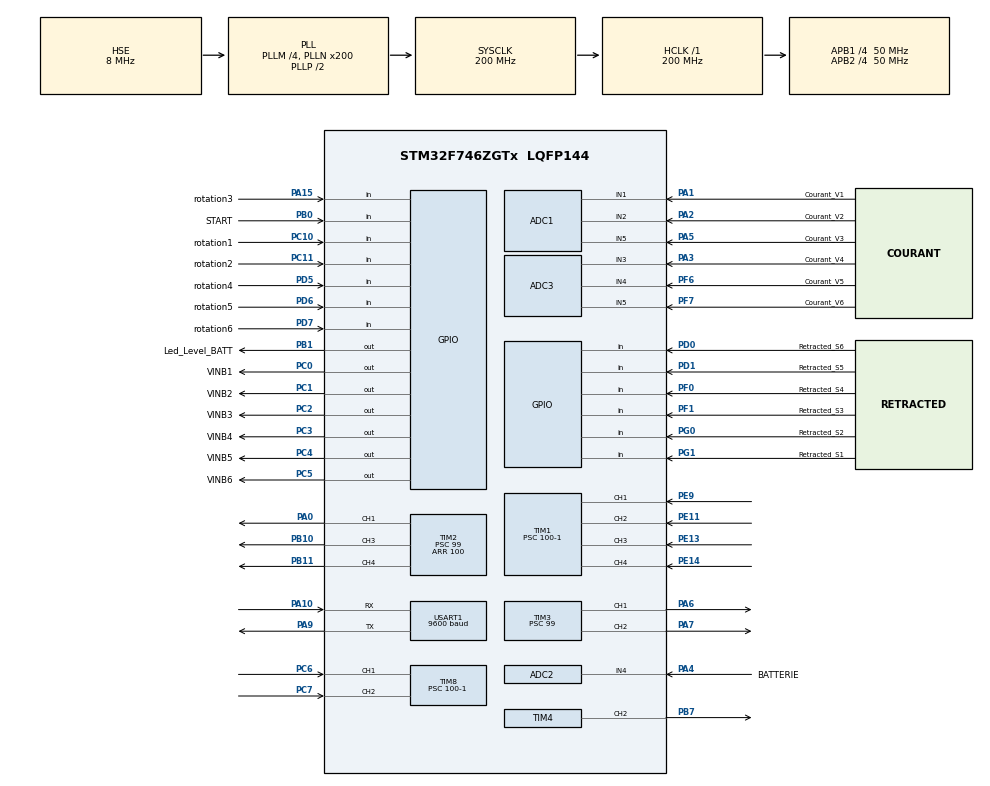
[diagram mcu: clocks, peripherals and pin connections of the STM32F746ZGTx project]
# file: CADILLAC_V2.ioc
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ADC1.Channel-0\#ChannelRegularConversion=ADC_CHANNEL_1
ADC1.Channel-1\#ChannelRegularConversion=ADC_CHANNEL_2
ADC1.Channel-2\#ChannelRegularConversion=ADC_CHANNEL_5
ADC1.ClockPrescaler=ADC_CLOCK_SYNC_PCLK_DIV8
ADC1.ContinuousConvMode=ENABLE
ADC1.DMAContinuousRequests=ENABLE
ADC1.NbrOfConversion=3
ADC1.NbrOfConversionFlag=1
ADC1.Rank-0\#ChannelRegularConversion=1
ADC1.Rank-1\#ChannelRegularConversion=2
ADC1.Rank-2\#ChannelRegularConversion=3
ADC1.SamplingTime-0\#ChannelRegularConversion=ADC_SAMPLETIME_84CYCLES
ADC1.SamplingTime-1\#ChannelRegularConversion=ADC_SAMPLETIME_56CYCLES
ADC1.SamplingTime-2\#ChannelRegularConversion=ADC_SAMPLETIME_144CYCLES
ADC1.ScanConvMode=ADC_SCAN_ENABLE
ADC1.master=1
ADC2.Channel-2\#ChannelRegularConversion=ADC_CHANNEL_4
ADC2.ClockPrescaler=ADC_CLOCK_SYNC_PCLK_DIV8
ADC2.ContinuousConvMode=DISABLE
ADC2.DMAContinuousRequests=DISABLE
ADC2.NbrOfConversion=1
ADC2.NbrOfConversionFlag=1
ADC2.Rank-2\#ChannelRegularConversion=1
ADC2.SamplingTime-2\#ChannelRegularConversion=ADC_SAMPLETIME_480CYCLES
ADC2.ScanConvMode=ADC_SCAN_ENABLE
ADC3.Channel-0\#ChannelRegularConversion=ADC_CHANNEL_3
ADC3.Channel-1\#ChannelRegularConversion=ADC_CHANNEL_4
ADC3.Channel-2\#ChannelRegularConversion=ADC_CHANNEL_5
ADC3.ClockPrescaler=ADC_CLOCK_SYNC_PCLK_DIV8
ADC3.ContinuousConvMode=ENABLE
ADC3.DMAContinuousRequests=ENABLE
ADC3.NbrOfConversion=3
ADC3.NbrOfConversionFlag=1
ADC3.Rank-0\#ChannelRegularConversion=1
ADC3.Rank-1\#ChannelRegularConversion=2
ADC3.Rank-2\#ChannelRegularConversion=3
ADC3.SamplingTime-0\#ChannelRegularConversion=ADC_SAMPLETIME_56CYCLES
ADC3.SamplingTime-1\#ChannelRegularConversion=ADC_SAMPLETIME_112CYCLES
ADC3.SamplingTime-2\#ChannelRegularConversion=ADC_SAMPLETIME_480CYCLES
ADC3.ScanConvMode=ADC_SCAN_ENABLE
Dma.ADC1.1.Direction=DMA_PERIPH_TO_MEMORY
Dma.ADC1.1.FIFOMode=DMA_FIFOMODE_DISABLE
Dma.ADC1.1.Instance=DMA2_Stream0
Dma.ADC1.1.MemDataAlignment=DMA_MDATAALIGN_HALFWORD
Dma.ADC1.1.MemInc=DMA_MINC_ENABLE
Dma.ADC1.1.Mode=DMA_CIRCULAR
Dma.ADC1.1.PeriphDataAlignment=DMA_PDATAALIGN_HALFWORD
Dma.ADC1.1.PeriphInc=DMA_PINC_DISABLE
Dma.ADC1.1.Priority=DMA_PRIORITY_LOW
Dma.ADC2.0.Direction=DMA_PERIPH_TO_MEMORY
Dma.ADC2.0.FIFOMode=DMA_FIFOMODE_DISABLE
Dma.ADC2.0.Instance=DMA2_Stream2
Dma.ADC2.0.MemDataAlignment=DMA_MDATAALIGN_HALFWORD
Dma.ADC2.0.MemInc=DMA_MINC_ENABLE
Dma.ADC2.0.Mode=DMA_CIRCULAR
Dma.ADC2.0.PeriphDataAlignment=DMA_PDATAALIGN_HALFWORD
Dma.ADC2.0.PeriphInc=DMA_PINC_DISABLE
Dma.ADC2.0.Priority=DMA_PRIORITY_LOW
Dma.ADC3.2.Direction=DMA_PERIPH_TO_MEMORY
Dma.ADC3.2.FIFOMode=DMA_FIFOMODE_DISABLE
Dma.ADC3.2.Instance=DMA2_Stream1
Dma.ADC3.2.MemDataAlignment=DMA_MDATAALIGN_HALFWORD
Dma.ADC3.2.MemInc=DMA_MINC_ENABLE
Dma.ADC3.2.Mode=DMA_CIRCULAR
Dma.ADC3.2.PeriphDataAlignment=DMA_PDATAALIGN_HALFWORD
Dma.ADC3.2.PeriphInc=DMA_PINC_DISABLE
Dma.ADC3.2.Priority=DMA_PRIORITY_LOW
Dma.Request0=ADC2
Dma.Request1=ADC1
Dma.Request2=ADC3
Dma.Request3=USART1_RX
Dma.Request4=USART1_TX
Dma.USART1_RX.3.Direction=DMA_PERIPH_TO_MEMORY
Dma.USART1_RX.3.FIFOMode=DMA_FIFOMODE_DISABLE
Dma.USART1_RX.3.Instance=DMA2_Stream5
Dma.USART1_RX.3.MemDataAlignment=DMA_MDATAALIGN_BYTE
Dma.USART1_RX.3.MemInc=DMA_MINC_ENABLE
Dma.USART1_RX.3.Mode=DMA_NORMAL
Dma.USART1_RX.3.PeriphDataAlignment=DMA_PDATAALIGN_BYTE
Dma.USART1_RX.3.PeriphInc=DMA_PINC_DISABLE
Dma.USART1_RX.3.Priority=DMA_PRIORITY_LOW
Dma.USART1_TX.4.Direction=DMA_MEMORY_TO_PERIPH
Dma.USART1_TX.4.FIFOMode=DMA_FIFOMODE_DISABLE
Dma.USART1_TX.4.Instance=DMA2_Stream7
Dma.USART1_TX.4.MemDataAlignment=DMA_MDATAALIGN_WORD
Dma.USART1_TX.4.MemInc=DMA_MINC_ENABLE
Dma.USART1_TX.4.Mode=DMA_CIRCULAR
Dma.USART1_TX.4.PeriphDataAlignment=DMA_PDATAALIGN_WORD
Dma.USART1_TX.4.PeriphInc=DMA_PINC_DISABLE
Dma.USART1_TX.4.Priority=DMA_PRIORITY_LOW
Mcu.Family=STM32F7
Mcu.Name=STM32F746ZGTx
Mcu.Package=LQFP144
NVIC.DMA2_Stream0_IRQn=true\:0\:0\:false\:false\:true\:false\:true\:true
NVIC.DMA2_Stream1_IRQn=true\:0\:0\:false\:false\:true\:false\:true\:true
NVIC.DMA2_Stream2_IRQn=true\:0\:0\:false\:false\:true\:false\:true\:true
NVIC.DMA2_Stream5_IRQn=true\:0\:0\:false\:false\:true\:false\:true\:true
NVIC.DMA2_Stream7_IRQn=true\:0\:0\:false\:false\:true\:false\:true\:true
NVIC.PriorityGroup=NVIC_PRIORITYGROUP_4
NVIC.TIM1_CC_IRQn=true\:0\:0\:false\:false\:true\:true\:true\:true
NVIC.TIM8_CC_IRQn=true\:0\:0\:false\:false\:true\:true\:true\:true
NVIC.USART1_IRQn=true\:0\:0\:false\:false\:true\:true\:true\:true
PA0/WKUP.GPIO_PuPd=GPIO_PULLDOWN
PA0/WKUP.GPIO_Speed=GPIO_SPEED_FREQ_LOW
PA0/WKUP.Signal=S_TIM2_CH1_ETR
PA1.GPIO_Label=Courant_V1
PA1.Signal=ADCx_IN1
PA10.Mode=Asynchronous
PA10.Signal=USART1_RX
PA15.GPIO_Label=rotation3
PA15.GPIO_PuPd=GPIO_PULLDOWN
PA15.Signal=GPIO_Input
PA2.GPIO_Label=Courant_V2
PA2.Signal=ADCx_IN2
PA3.GPIO_Label=Courant_V4
PA3.Signal=ADCx_IN3
PA4.GPIO_Label=BATTERIE
PA4.Signal=ADCx_IN4
PA5.GPIO_Label=Courant_V3
PA5.Signal=ADCx_IN5
PA6.GPIO_PuPd=GPIO_PULLDOWN
PA6.GPIO_Speed=GPIO_SPEED_FREQ_LOW
PA6.Signal=S_TIM3_CH1
PA7.GPIO_PuPd=GPIO_PULLDOWN
PA7.GPIO_Speed=GPIO_SPEED_FREQ_LOW
PA7.Signal=S_TIM3_CH2
PA9.Mode=Asynchronous
PA9.Signal=USART1_TX
PB0.GPIO_Label=START
PB0.GPIO_PuPd=GPIO_PULLDOWN
PB0.Signal=GPIO_Input
PB1.GPIO_Label=Led_Level_BATT
PB1.GPIO_ModeDefaultOutputPP=GPIO_MODE_OUTPUT_PP
PB1.GPIO_PuPd=GPIO_PULLDOWN
PB1.GPIO_Speed=GPIO_SPEED_FREQ_LOW
PB1.Signal=GPIO_Output
PB10.GPIO_PuPd=GPIO_PULLDOWN
PB10.GPIO_Speed=GPIO_SPEED_FREQ_LOW
PB10.Signal=S_TIM2_CH3
PB11.GPIO_PuPd=GPIO_PULLDOWN
PB11.GPIO_Speed=GPIO_SPEED_FREQ_LOW
PB11.Signal=S_TIM2_CH4
PB7.Signal=S_TIM4_CH2
PC0.GPIO_Label=VINB1
PC0.GPIO_PuPd=GPIO_PULLDOWN
PC0.GPIO_Speed=GPIO_SPEED_FREQ_LOW
PC0.Signal=GPIO_Output
PC1.GPIO_Label=VINB2
PC1.GPIO_PuPd=GPIO_PULLDOWN
PC1.GPIO_Speed=GPIO_SPEED_FREQ_LOW
PC1.Signal=GPIO_Output
PC10.GPIO_Label=rotation1
PC10.GPIO_PuPd=GPIO_PULLDOWN
PC10.Signal=GPIO_Input
PC11.GPIO_Label=rotation2
PC11.GPIO_PuPd=GPIO_PULLDOWN
PC11.Signal=GPIO_Input
PC2.GPIO_Label=VINB3
PC2.GPIO_PuPd=GPIO_PULLDOWN
PC2.GPIO_Speed=GPIO_SPEED_FREQ_LOW
PC2.Signal=GPIO_Output
PC3.GPIO_Label=VINB4
PC3.GPIO_PuPd=GPIO_PULLDOWN
PC3.GPIO_Speed=GPIO_SPEED_FREQ_LOW
PC3.Signal=GPIO_Output
PC4.GPIO_Label=VINB5
PC4.GPIO_PuPd=GPIO_PULLDOWN
PC4.GPIO_Speed=GPIO_SPEED_FREQ_LOW
PC4.Signal=GPIO_Output
PC5.GPIO_Label=VINB6
PC5.GPIO_PuPd=GPIO_PULLDOWN
PC5.GPIO_Speed=GPIO_SPEED_FREQ_LOW
PC5.PinState=GPIO_PIN_RESET
PC5.Signal=GPIO_Output
PC6.GPIO_PuPd=GPIO_PULLDOWN
PC6.GPIO_Speed=GPIO_SPEED_FREQ_LOW
PC6.Signal=S_TIM8_CH1
PC7.GPIO_PuPd=GPIO_PULLDOWN
PC7.GPIO_Speed=GPIO_SPEED_FREQ_LOW
PC7.Signal=S_TIM8_CH2
PD0.GPIO_Label=Retracted_S6
PD0.GPIO_PuPd=GPIO_PULLDOWN
PD0.Signal=GPIO_Input
PD1.GPIO_Label=Retracted_S5
PD1.GPIO_PuPd=GPIO_PULLDOWN
PD1.Signal=GPIO_Input
PD5.GPIO_Label=rotation4
PD5.GPIO_PuPd=GPIO_PULLDOWN
PD5.Signal=GPIO_Input
PD6.GPIO_Label=rotation5
PD6.GPIO_PuPd=GPIO_PULLDOWN
PD6.Signal=GPIO_Input
PD7.GPIO_Label=rotation6
PD7.GPIO_PuPd=GPIO_PULLDOWN
PD7.Signal=GPIO_Input
PE11.GPIO_PuPd=GPIO_PULLDOWN
PE11.GPIO_Speed=GPIO_SPEED_FREQ_LOW
PE11.Signal=S_TIM1_CH2
PE13.GPIO_PuPd=GPIO_PULLDOWN
PE13.GPIO_Speed=GPIO_SPEED_FREQ_LOW
PE13.Signal=S_TIM1_CH3
PE14.GPIO_PuPd=GPIO_PULLDOWN
PE14.GPIO_Speed=GPIO_SPEED_FREQ_LOW
PE14.Signal=S_TIM1_CH4
PE9.GPIO_PuPd=GPIO_PULLDOWN
PE9.GPIO_Speed=GPIO_SPEED_FREQ_LOW
PE9.Signal=S_TIM1_CH1
PF0.GPIO_Label=Retracted_S4
PF0.GPIO_PuPd=GPIO_PULLDOWN
PF0.Signal=GPIO_Input
PF1.GPIO_Label=Retracted_S3
PF1.GPIO_PuPd=GPIO_PULLDOWN
PF1.Signal=GPIO_Input
PF6.GPIO_Label=Courant_V5
PF6.Mode=IN4
PF6.Signal=ADC3_IN4
PF7.GPIO_Label=Courant_V6
PF7.Mode=IN5
PF7.Signal=ADC3_IN5
PG0.GPIO_Label=Retracted_S2
PG0.GPIO_PuPd=GPIO_PULLDOWN
PG0.Signal=GPIO_Input
PG1.GPIO_Label=Retracted_S1
PG1.GPIO_PuPd=GPIO_PULLDOWN
PG1.Signal=GPIO_Input
PH0/OSC_IN.Mode=HSE-External-Oscillator
PH0/OSC_IN.Signal=RCC_OSC_IN
PH1/OSC_OUT.Mode=HSE-External-Oscillator
PH1/OSC_OUT.Signal=RCC_OSC_OUT
ProjectManager.HeapSize=0x200
ProjectManager.StackSize=0x400
ProjectManager.TargetToolchain=STM32CubeIDE
RCC.48MHZClocksFreq_Value=24000000
RCC.AHBFreq_Value=200000000
RCC.APB1CLKDivider=RCC_HCLK_DIV4
RCC.APB1Freq_Value=50000000
RCC.APB1TimFreq_Value=100000000
RCC.APB2CLKDivider=RCC_HCLK_DIV4
RCC.APB2Freq_Value=50000000
RCC.APB2TimFreq_Value=100000000
RCC.CortexFreq_Value=200000000
RCC.HCLKFreq_Value=200000000
RCC.HSE_VALUE=8000000
RCC.HSI_VALUE=16000000
RCC.LSE_VALUE=32768
RCC.PLLM=4
RCC.PLLMUL=RCC_PLL_MUL9
RCC.PLLN=200
RCC.PLLQ=3
RCC.PLLSourceVirtual=RCC_PLLSOURCE_HSE
RCC.PRESCALERUSB=RCC_USBCLKSOURCE_PLL_DIV1_5
RCC.SYSCLKFreq_VALUE=200000000
RCC.SYSCLKSource=RCC_SYSCLKSOURCE_PLLCLK
RCC.SYSCLKSourceVirtual=RCC_SYSCLKSOURCE_PLLCLK
RCC.USBFreq_Value=133333333.33333333
RCC.VCOOutputFreq_Value=400000000
SH.ADCx_IN1.0=ADC1_IN1,IN1
SH.ADCx_IN2.0=ADC1_IN2,IN2
SH.ADCx_IN3.0=ADC3_IN3,IN3
SH.ADCx_IN4.0=ADC2_IN4,IN4
SH.ADCx_IN5.0=ADC1_IN5,IN5
SH.S_TIM1_CH1.0=TIM1_CH1,Input_Capture1_from_TI1
SH.S_TIM1_CH2.0=TIM1_CH2,Input_Capture2_from_TI2
SH.S_TIM1_CH3.0=TIM1_CH3,Input_Capture3_from_TI3
SH.S_TIM1_CH4.0=TIM1_CH4,Input_Capture4_from_TI4
SH.S_TIM2_CH1_ETR.0=TIM2_CH1,PWM Generation1 CH1
SH.S_TIM2_CH3.0=TIM2_CH3,PWM Generation3 CH3
SH.S_TIM2_CH4.0=TIM2_CH4,PWM Generation4 CH4
SH.S_TIM3_CH1.0=TIM3_CH1,PWM Generation1 CH1
SH.S_TIM3_CH2.0=TIM3_CH2,PWM Generation2 CH2
SH.S_TIM4_CH2.0=TIM4_CH2,PWM Generation2 CH2
SH.S_TIM8_CH1.0=TIM8_CH1,Input_Capture1_from_TI1
SH.S_TIM8_CH2.0=TIM8_CH2,Input_Capture2_from_TI2
TIM1.Channel-Input_Capture1_from_TI1=TIM_CHANNEL_1
TIM1.Channel-Input_Capture2_from_TI2=TIM_CHANNEL_2
TIM1.Channel-Input_Capture3_from_TI3=TIM_CHANNEL_3
TIM1.Channel-Input_Capture4_from_TI4=TIM_CHANNEL_4
TIM1.ClockDivision=TIM_CLOCKDIVISION_DIV2
TIM1.ICFilter_CH1=12
TIM1.ICFilter_CH2=12
TIM1.ICFilter_CH3=12
TIM1.ICFilter_CH4=12
TIM1.Prescaler=100-1
TIM2.Channel-PWM\ Generation1\ CH1=TIM_CHANNEL_1
TIM2.Channel-PWM\ Generation3\ CH3=TIM_CHANNEL_3
TIM2.Channel-PWM\ Generation4\ CH4=TIM_CHANNEL_4
TIM2.Period=100
TIM2.Prescaler=99
TIM3.Channel-PWM\ Generation1\ CH1=TIM_CHANNEL_1
TIM3.Channel-PWM\ Generation2\ CH2=TIM_CHANNEL_2
TIM3.Period=100
TIM3.Prescaler=99
TIM4.Channel-PWM\ Generation2\ CH2=TIM_CHANNEL_2
TIM4.Period=100
TIM4.Prescaler=99
TIM8.Channel-Input_Capture1_from_TI1=TIM_CHANNEL_1
TIM8.Channel-Input_Capture2_from_TI2=TIM_CHANNEL_2
TIM8.ClockDivision=TIM_CLOCKDIVISION_DIV2
TIM8.ICFilter_CH1=12
TIM8.ICFilter_CH2=12
TIM8.Prescaler=100-1
USART1.BaudRate=9600
USART1.OneBitSampling=UART_ONE_BIT_SAMPLE_DISABLE
USART1.VirtualMode-Asynchronous=VM_ASYNC
VP_TIM2_VS_ClockSourceINT.Mode=Internal
VP_TIM3_VS_ClockSourceINT.Mode=Internal
board=NUCLEO-F746ZG

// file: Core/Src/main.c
/* USER CODE BEGIN Header */
/**
  ******************************************************************************
  * @file           : main.c
  * @brief          : Main program body
  ******************************************************************************
  * @attention
  *
  * Copyright (c) 2023 STMicroelectronics.
  * All rights reserved.
  *
  * This software is licensed under terms that can be found in the LICENSE file
  * in the root directory of this software component.
  * If no LICENSE file comes with this software, it is provided AS-IS.
  *
  ******************************************************************************
  */
/* USER CODE END Header */
#include "main.h"
#include "adc.h"
#include "dma.h"
#include "tim.h"
#include "usart.h"
#include "gpio.h"

/* USER CODE BEGIN Includes */
#include "asservissement.h"
#include "interruption.h"
#include "math.h"
#include "stdlib.h"
#include "stdio.h"

/* USER CODE END Includes */

/* USER CODE BEGIN PTD */
#define frequencyM1     1000/(periodMotor1)    // FREQUENCE DU L ENCODEUR 1
#define frequencyM2     1000/(periodMotor2)    // FREQUENCE DU L ENCODEUR 2
#define frequencyM3     1000/(periodMotor3)    // FREQUENCE DU L ENCODEUR 3
#define frequencyM4     1000/(periodMotor4)    // FREQUENCE DU L ENCODEUR 4
#define frequencyM5     1000/(periodMotor5)    // FREQUENCE DU L ENCODEUR 5
#define frequencyM6     1000/(periodMotor6)    // FREQUENCE DU L ENCODEUR 6

#define Vmin     15   // FREQUENCE DU L ENCODEUR 6
#define Vmax     45  // FREQUENCE DU L ENCODEUR 6
#define Vx     19 // FREQUENCE DU L ENCODEUR 6

/* USER CODE END PTD */

/* USER CODE BEGIN PV */
int speedMotor1=0;
int speedMotor2=0;
int speedMotor3=0;
int speedMotor4=0;
int speedMotor5=0;
int speedMotor6=0;
float vitesseRef1 =25;            // VITESSE DE REFERNCE POUR L ASSERVISSEMENT 90
float vitesseRef3 =25;
float vitesseRef2 =25;
int periodMotor1=0;
uint16_t periodMotor2=0;
uint16_t periodMotor3=0;
uint16_t periodMotor4=0;
uint16_t periodMotor5=0;
uint16_t periodMotor6=0;
volatile float Is_First_Captured1=0;// VARIABLE POUR TESTER SILE FRONT MONTANT DU L ENCODEUR 1 EST DETECTE
volatile float Is_First_Captured2=0;// VARIABLE POUR TESTER SILE FRONT MONTANT DU L ENCODEUR 2 EST DETECTE
volatile float Is_First_Captured3=0;// VARIABLE POUR TESTER SILE FRONT MONTANT DU L ENCODEUR 3 EST DETECTE
volatile float Is_First_Captured4=0;// VARIABLE POUR TESTER SILE FRONT MONTANT DU L ENCODEUR 4 EST DETECTE
volatile float Is_First_Captured5=0;// VARIABLE POUR TESTER SILE FRONT MONTANT DU L ENCODEUR 5 EST DETECTE
volatile float Is_First_Captured6=0;// VARIABLE POUR TESTER SILE FRONT MONTANT DU L ENCODEUR 6 EST DETECTE
volatile int IC1_Val1=0;        //VARIABLE POUR STOCKER LA VALEUR DU  FRONT MONTANT DU L ENCODEUR 1
volatile int IC2_Val1=0;        //VARIABLE POUR STOCKER LA VALEUR DU  FRONT MONTANT DU L ENCODEUR 2
volatile int IC3_Val1=0;        //VARIABLE POUR STOCKER LA VALEUR DU  FRONT MONTANT DU L ENCODEUR 3
volatile int IC4_Val1=0;        //VARIABLE POUR STOCKER LA VALEUR DU  FRONT MONTANT DU L ENCODEUR 4
volatile int IC5_Val1=0;        //VARIABLE POUR STOCKER LA VALEUR DU  FRONT MONTANT DU L ENCODEUR 5
volatile int IC6_Val1=0;        //VARIABLE POUR STOCKER LA VALEUR DU  FRONT MONTANT DU L ENCODEUR 6
volatile int CountM1=0;      // NOMBRE D IMPULSION ENCODEUR 1
volatile int CountM2=0;      // NOMBRE D IMPULSION ENCODEUR 2
volatile int CountM3=0;      // NOMBRE D IMPULSION ENCODEUR 3
volatile int CountM4=0;      // NOMBRE D IMPULSION ENCODEUR 4
volatile int CountM5=0;      // NOMBRE D IMPULSION ENCODEUR 5
volatile int CountM6=0;      // NOMBRE D IMPULSION ENCODEUR 6
double pos1;
double pos2;
double pos3;
 uint8_t Msgsent_ToST2[1]={0x1F};//1 identificateur/ F start mise à zero
 uint8_t senddataPOS_encour[1]={0x11};//1 identificateur/ 1  mise à zero en cours
 uint8_t senddatahold[1]={0xF0};//F tout les uc/ 0 terminer la  mise à zero

 uint8_t MsgrecuST2[1];//RX UART:: courantR1  COURANTR2 COURANTR3 /R4  DESC  COURANTMEULE  /COUNTMR1 MR2...MR4
uint32_t BATT;       // TABLEAU POUR STOCKER VALEUR DE TENSION BATT
double y=-580;
double x=-30;

volatile float VBATT=20;
volatile float COURANTV1;
volatile float COURANTV2;
volatile float COURANTV3;
volatile float COURANTV4;
volatile float COURANTV5;
volatile float COURANTV6;
uint8_t  courantR1;
uint8_t  courantR2;
uint8_t  courantR3;
uint8_t  courantR4;
uint8_t  courantDESC ;
uint8_t courantMeule;
uint8_t CountMR1;
uint8_t CountMR2;
uint8_t CountMR3;
uint8_t CountMR4;
uint8_t CountDESC;
uint16_t buffer1[3];
uint16_t buffer2[3];
uint8_t Start;//bouton start cycle
float resultats;
float t1;
float t2;
float t3;
const float PI=3.141593;

double poszero1;
double poszero2;
double poszero3;
int zero=0;
int mise_zero_alpha0=0;

/* USER CODE END PV */

void SystemClock_Config(void);
/* USER CODE BEGIN PFP */

void roundpulse(double *C1,double *C2,double *C3);

void ConvertMM_topulse(double *C1,double *C2,double *C3);

void determinerVecteurTEMPS( double *pos11,double *pos22,double *pos33 );
void convert_Frompolar_Tocourse(double x, double y, double alpha);
void moveTo( double x,double y,double alpha );
void Start_mise_a_zero();
void senddataholdTo_st2();
void Mise_a_zero_encour();

/* USER CODE END PFP */

/* USER CODE BEGIN 0 */

void HAL_TIM_IC_CaptureCallback(TIM_HandleTypeDef *htim)

{
	  if(htim->Instance==TIM8)
	  {
		  if(htim->Channel == HAL_TIM_ACTIVE_CHANNEL_1)// MOTEUR 1

		  	{
			   Interruption_1();
             // CountM1++;

				if (Is_First_Captured1 == 0)
					{

					  IC1_Val1=HAL_GetTick();
					  Is_First_Captured1++;

					}
		  		else if (Is_First_Captured1 == 1)
					{
					  periodMotor1 = HAL_GetTick()-IC1_Val1;//periode1
					  if(periodMotor1>16)
					  {
					    speedMotor1 = frequencyM1;

					  }
					  Is_First_Captured1 = 0;

					  }

		  	}
		  if(htim->Channel == HAL_TIM_ACTIVE_CHANNEL_2)// MOTEUR 2

		 		  	            {
		 						 Initerruption_2();
		 		            	 //CountM2+=1;

		 						  if (Is_First_Captured2 == 0)
		 							{
		 								IC2_Val1=HAL_GetTick();
		 								Is_First_Captured2++;
		 							}
		 							else if (Is_First_Captured2 == 1)
		 							{
		 								periodMotor2 = HAL_GetTick()-IC2_Val1;//periode1
		 								if(periodMotor2>16)
		 								{
		 								speedMotor2 = frequencyM2;
		 								}

		 								Is_First_Captured2 = 0;

		 							}

		 						  }
	  }

	  if(htim->Instance==TIM1)

	  {

            if(htim->Channel == HAL_TIM_ACTIVE_CHANNEL_1)	//MOTEUR3

				{
	    Interruption_3();
  	 //CountM3++;

					if (Is_First_Captured3 == 0)
						{
							IC3_Val1=HAL_GetTick();
							Is_First_Captured3++;
						}
					else if (Is_First_Captured3 == 1)
						{
							periodMotor3 = HAL_GetTick()-IC3_Val1;//periode1
							if(periodMotor3>16)
							{
							  speedMotor3 = frequencyM3;
							}
							Is_First_Captured3 = 0;

						}

				}

	  		if(htim->Channel==HAL_TIM_ACTIVE_CHANNEL_2)//MOTEUR4
	  			  {
	  			    Interruption_4();
	  			//CountM4++;

					   if (Is_First_Captured4 == 0)
						   {
								IC4_Val1=HAL_GetTick();
								//timestamp1C1 = HAL_GetTick();
								Is_First_Captured4++;
						   }
						else if (Is_First_Captured4== 1)
							{
								periodMotor4 = HAL_GetTick()-IC4_Val1;//periode1periode1*0.5 both edge
							    if(periodMotor4>16)
							    {
								  speedMotor4 = frequencyM4;
								}
								Is_First_Captured4 = 0;

							}

					}

	  		if(htim->Channel==HAL_TIM_ACTIVE_CHANNEL_3)//MOTEUR5
				{
				     Interruption_5();
	  			 //CountM5++;

					 if (Is_First_Captured5 == 0)
						{
							IC5_Val1=HAL_GetTick();
							//timestamp1C1 = HAL_GetTick();
							Is_First_Captured5++;
						}
					 else if (Is_First_Captured5== 1)
						{
							periodMotor5 = HAL_GetTick()-IC5_Val1;//periode1
							if(periodMotor5>16)
							{
							  speedMotor5 = frequencyM5;
							}
							Is_First_Captured5 = 0;

						}

				}
	  		if(htim->Channel==HAL_TIM_ACTIVE_CHANNEL_4)//MOTEUR6
				{
					Interruption_6();
	  			//  CountM6++;

					if (Is_First_Captured6 == 0)
					{
						IC6_Val1=HAL_GetTick();
						//timestamp1C1 = HAL_GetTick();
						Is_First_Captured6++;
					}
					else if (Is_First_Captured6== 1)
						{
							periodMotor6 = HAL_GetTick()-IC6_Val1;//periode1periode1*0.5 both edge
						    if(periodMotor6>16)
						    {
							  speedMotor6 =frequencyM6;
						    }
							Is_First_Captured6 = 0;

						}

	  			 }

	  	}

}

void HAL_ADC_ConvCpltCallback(ADC_HandleTypeDef* hadc)
{

	  /*  if (hadc->Instance == ADC1)
	    {
				COURANTV1=buffer1[0];
				COURANTV2=buffer1[1];
				COURANTV3=buffer1[2];

	    }*/
	     if (hadc->Instance == ADC2)
	    {

	 	     VBATT=(BATT/ 4095.00)*21;//tension de la batterie

	    }
	 /* if (hadc->Instance == ADC3)
	        {
				COURANTV4=buffer2[0];
				COURANTV5=buffer2[1];
				COURANTV6=buffer2[2];

	        }*/

}

void HAL_UART_RxCpltCallback(UART_HandleTypeDef *huart)
  {
	HAL_UART_Receive_IT(&huart1,MsgrecuST2, 1);//sizeof(buffer));// CR1/CR2/CR3/CR4/CRDES/CRMEULE/CountMR1...CountMR4

  }

void Start_mise_a_zero()
  {

   HAL_UART_Transmit_IT(&huart1, Msgsent_ToST2, 1);// ENVOYER 011=3
HAL_Delay(100);

  }
void Mise_a_zero_encour()
  {

   HAL_UART_Transmit_IT(&huart1, senddataPOS_encour, 1);
   HAL_Delay(100);

  }
void senddataholdTo_st2()

  {

   HAL_UART_Transmit_IT(&huart1, senddatahold, 1);
   HAL_Delay(100);

  }

void check_batterie(){
	if(VBATT>17.00){

		HAL_GPIO_WritePin(GPIOB, Led_Level_BATT_Pin, GPIO_PIN_SET);
	}
	else if(VBATT<17.00){

		HAL_GPIO_TogglePin(GPIOB, Led_Level_BATT_Pin);
		HAL_Delay(100);
	}
}

void convert_Frompolar_Tocourse(double x, double y, double alpha){

alpha=PI*alpha/180;// angle radian
pos1=sqrt(pow(x+180*sin(alpha)-50*cos(alpha),2)+pow(y+180*cos(alpha)+50*sin(alpha),2))-356;// EQUATION COURSE1
pos2=sqrt(pow(x+180*sin(alpha)-50*cos(alpha)+100,2)+pow(y+180*cos(alpha)+50*sin(alpha),2))-356;//EQUATION COURSE 2
pos3=sqrt(pow(x+180*sin(alpha)+50*cos(alpha)-80,2)+pow(y+180*cos(alpha)-50*sin(alpha),2))-356;// EQUATION COURSE3
if(pos1<0){pos1=0;}// MOUVE TO ZERO POSITION (x	=0 y=0 alpha=0) donne des resultats negative de course
if(pos2<0){pos2=0;}// MOUVE TO ZERO POSITION (x	=0 y=0 alpha=0) donne des resultats negative de course
if(pos3<0){pos3=0;}// MOUVE TO ZERO POSITION (x	=0 y=0 alpha=0) donne des resultats negative de course

}
void roundpulse(double *C1,double *C2,double *C3)
{
	*C1=round(*C1);
	*C2=round(*C2);
	*C3=round(*C3);
}
void ConvertMM_topulse(double *C1,double *C2,double *C3)
{
	*C1=(*C1)*6.41;
	*C2=(*C2)*6.41;
	*C3=(*C3)*6.41;

}
void determinerVecteurTEMPS( double *pos11,double *pos22,double *pos33 )
  {

		t1=*pos11/vitesseRef1;
		t2=*pos22/vitesseRef2;
		t3=*pos33/vitesseRef3;
		resultats= (t2+t3+t1)/3;
   }
void moveTo( double x,double y,double alpha ){

vitesseRef1=30;
vitesseRef2=30;
vitesseRef3=30;
poszero1=pos1;
poszero2=pos2;
poszero3=pos3;

convert_Frompolar_Tocourse(x, y, alpha);//retourner pos1 POS2 POS3 en mm
//ConvertMM_topulse(&pos1, &pos2, &pos3);
  // roundpulse(&pos1, &pos2, &pos3);

if ((pos1 == 0 && pos3 == 0) && pos2 == 0) {
    vitesseRef1 = ceil(poszero1 / resultats);
    vitesseRef2 = ceil(poszero2 / resultats);
    vitesseRef3 = ceil(poszero3 / resultats);
} else {
    ConvertMM_topulse(&pos1, &pos2, &pos3);
    roundpulse(&pos1, &pos2, &pos3);
    determinerVecteurTEMPS(&pos1, &pos2, &pos3);

    vitesseRef1 = ceil(pos1 / resultats);//
    vitesseRef2 = ceil(pos2 / resultats);
    vitesseRef3 = ceil(pos3 / resultats);
}

vitesseRef1 = (vitesseRef1 > Vmax) ? Vmax : (vitesseRef1 < Vmin) ? Vmin : vitesseRef1;
vitesseRef2 = (vitesseRef2 > Vmax) ? Vmax : (vitesseRef2 < Vmin) ? Vmin : vitesseRef2;
vitesseRef3 = (vitesseRef3 > Vmax) ? Vmax : (vitesseRef3 < Vmin) ? Vmin : vitesseRef3;

////////////////////////////////////////

while ( ((pos1>CountM2)||(pos1>CountM5)||(pos1-CountM2<0 )||(pos1-CountM5<0 ) ||
		(pos2>CountM1)||(pos2>CountM6)||(pos2-CountM1<0 ) ||(pos2-CountM6<0 )||
		(pos3>CountM3)||(pos3>CountM4)||(pos3-CountM3<0 ) ||(pos3-CountM4<0 )))
{
	///{1 ET 6}  {2 ET 5}   {3  ET 4} sont synchroniser deux a deux
	 //////////////////////////////////////////////////////////MOTEUR1

    if (pos2 - CountM1 > 0) {
        HAL_GPIO_WritePin(GPIOC, VINB1_Pin, GPIO_PIN_RESET); // Moving forward
         Regulation_Mt1(speedMotor1, speedMotor6, vitesseRef2, VBATT)   ;
        //TIM2->CCR1 = 40; // Stop for any other condition

    } else if ((pos2 - CountM1) < 0 ) {
        HAL_GPIO_WritePin(GPIOC, VINB1_Pin, GPIO_PIN_SET); // Moving backward
        Regulation_Mt1(speedMotor1, speedMotor6, vitesseRef2, VBATT)   ;
        //TIM2->CCR1 = 40;
    } else {
        TIM2->CCR1 = 0; // Stop for any other condition
    }

    ////////////////////////////////////////////////////////////////////MT6

    	    if (pos2 - CountM6 > 0) {
    	    	HAL_GPIO_WritePin(GPIOC,  VINB6_Pin, GPIO_PIN_RESET);
    			Regulation_Mt6(speedMotor6, speedMotor1, vitesseRef2, VBATT);

    	    	 //TIM3->CCR2=40;
    	    }
    	    else if ((pos2 - CountM6 )< 0 )
    	    {

    	      HAL_GPIO_WritePin(GPIOC,  VINB6_Pin, GPIO_PIN_SET);
    		  Regulation_Mt6(speedMotor6, speedMotor1, vitesseRef2, VBATT);
    	      //TIM3->CCR2=40;

    	    }

    	    else
    	    {
    		  	TIM3->CCR2=0;

    	    }

	  ///////////////////////////////////////////////////MOTEUR2

		if  (pos1- CountM2>0 )//>=0.4
		   {

			HAL_GPIO_WritePin(GPIOC,  VINB2_Pin, GPIO_PIN_RESET);
		    Regulation_Mt2(speedMotor2, speedMotor5,vitesseRef1, VBATT);

			 //TIM4->CCR2=40;

		   }else if (( pos1 - CountM2   )<0  )//<=-0.5
				{
				   HAL_GPIO_WritePin(GPIOC,  VINB2_Pin, GPIO_PIN_SET);
				   Regulation_Mt2(speedMotor2, speedMotor5,vitesseRef1, VBATT);
				  // TIM4->CCR2=40;
			    }

		   else
			    {
			   TIM4->CCR2=0;

			    }

		///////////////////////////////////////////////////MOTEUR5

		if (pos1 - CountM5 > 0) {
			   HAL_GPIO_WritePin(GPIOC,  VINB5_Pin, GPIO_PIN_RESET);
			  Regulation_Mt5(speedMotor5, speedMotor2, vitesseRef1, VBATT);

			   //TIM3->CCR1=40;
		    } else if ((pos1 - CountM5) < 0 ) {

				  HAL_GPIO_WritePin(GPIOC,  VINB5_Pin, GPIO_PIN_SET);
				  Regulation_Mt5(speedMotor5, speedMotor2, vitesseRef1, VBATT);
				 // TIM3->CCR1=40;

		    }

		    else {
			  	TIM3->CCR1=0;

		    }

	///////////////////////////////////////////////////////////MOTEUR3

			if (pos3 - CountM3 > 0)
			  {
				HAL_GPIO_WritePin(GPIOC,  VINB3_Pin, GPIO_PIN_RESET);
				Regulation_Mt3(  speedMotor3,   speedMotor4, vitesseRef3, VBATT);
				 //TIM2->CCR3=40;
			   } else if ((pos3 - CountM3 )< 0 )
					   {
				  HAL_GPIO_WritePin(GPIOC,  VINB3_Pin, GPIO_PIN_SET);

				  Regulation_Mt3(  speedMotor3, speedMotor4, vitesseRef3, VBATT);

			   }

			   else {
				   TIM2->CCR3=0;

			   }
/////////////////////////////////////////////////////////////////////////////////MT4

		   if (pos3 - CountM4 > 0)
		   {
			 HAL_GPIO_WritePin(GPIOC,  VINB4_Pin, GPIO_PIN_RESET);

			  Regulation_Mt4(speedMotor4, speedMotor3, vitesseRef3, VBATT);

			 //TIM2->CCR4=40;
		   }
		   else if ((pos3 - CountM4 )< 0 )
		   {
			HAL_GPIO_WritePin(GPIOC,  VINB4_Pin, GPIO_PIN_SET);

			  Regulation_Mt4(speedMotor4, speedMotor3, vitesseRef3, VBATT);

			  // TIM2->CCR4=40;
		   }

		   else
		   {
			   TIM2->CCR4=0;

		   }

}
////////////////////////////////////////////////////////////////////////////
                  if  (( pos2  -CountM1  )==0 )
					   {
       			   TIM2->CCR1=0;

					   }
				 if  (( pos1  -CountM2  )==0 )
					   {
					   TIM4->CCR2=0;

					   }

	 			 if  (( pos3  -CountM3  )==0 )
				     {
	 				   TIM2->CCR3=0;

				     }
				 if  (( pos3  -CountM4 )==0 )
				     {
					   TIM2->CCR4=0;

					 }
				 if  (( pos1  -CountM5  )==0 )
				     {
					  	TIM3->CCR1=0;

					 }
				if  (( pos2 -CountM6  )==0 )
					 {
				  	TIM3->CCR2=0;

					 }

}

void moveTozero( double x,double y,double alpha ){

vitesseRef1=25;
vitesseRef2=25;
vitesseRef3=25;
poszero1=pos1;
poszero2=pos2;
poszero3=pos3;

convert_Frompolar_Tocourse(x, y, alpha);//retourner pos1 POS2 POS3 en mm
//ConvertMM_topulse(&pos1, &pos2, &pos3);
  // roundpulse(&pos1, &pos2, &pos3);

if ((pos1 == 0 && pos3 == 0) && pos2 == 0) {
    vitesseRef1 = ceil(poszero1 / resultats);
    vitesseRef2 = ceil(poszero2 / resultats);
    vitesseRef3 = ceil(poszero3 / resultats);
} else {
    ConvertMM_topulse(&pos1, &pos2, &pos3);
    roundpulse(&pos1, &pos2, &pos3);
    determinerVecteurTEMPS(&pos1, &pos2, &pos3);

    vitesseRef1 = ceil(pos1 / resultats);//
    vitesseRef2 = ceil(pos2 / resultats);
    vitesseRef3 = ceil(pos3 / resultats);
}

vitesseRef1 = (vitesseRef1 > Vx) ? Vx : (vitesseRef1 < Vmin) ? Vmin : vitesseRef1;
vitesseRef2 = (vitesseRef2 > Vx) ? Vx : (vitesseRef2 < Vmin) ? Vmin : vitesseRef2;
vitesseRef3 = (vitesseRef3 > Vx) ? Vx : (vitesseRef3 < Vmin) ? Vmin : vitesseRef3;

////////////////////////////////////////

while ( ((pos1>CountM2)||(pos1>CountM5)||(pos1-CountM2<0 )||(pos1-CountM5<0 ) ||
		(pos2>CountM1)||(pos2>CountM6)||(pos2-CountM1<0 ) ||(pos2-CountM6<0 )||
		(pos3>CountM3)||(pos3>CountM4)||(pos3-CountM3<0 ) ||(pos3-CountM4<0 ))&& MsgrecuST2[0]==5)
{
	///{1 ET 6}  {2 ET 5}   {3  ET 4} sont synchroniser deux a deux
	 //////////////////////////////////////////////////////////MOTEUR1

    if (pos2 - CountM1 > 0 && MsgrecuST2[0]==5) {
        HAL_GPIO_WritePin(GPIOC, VINB1_Pin, GPIO_PIN_RESET); // Moving forward
         Regulation_Mt1(speedMotor1, speedMotor6, vitesseRef2, VBATT)   ;
        //TIM2->CCR1 = 40; // Stop for any other condition

    } else if ((pos2 - CountM1) < 0 && MsgrecuST2[0]==5 ) {
        HAL_GPIO_WritePin(GPIOC, VINB1_Pin, GPIO_PIN_SET); // Moving backward
        Regulation_Mt1(speedMotor1, speedMotor6, vitesseRef2, VBATT)   ;
        //TIM2->CCR1 = 40;
    } else {
        TIM2->CCR1 = 0; // Stop for any other condition
    }

    ////////////////////////////////////////////////////////////////////MT6

    	    if (pos2 - CountM6 > 0 && MsgrecuST2[0]==5) {
    	    	HAL_GPIO_WritePin(GPIOC,  VINB6_Pin, GPIO_PIN_RESET);
    			Regulation_Mt6(speedMotor6, speedMotor1, vitesseRef2, VBATT);

    	    	 //TIM3->CCR2=40;
    	    }
    	    else if ((pos2 - CountM6 )< 0 && MsgrecuST2[0]==5)
    	    {

    	      HAL_GPIO_WritePin(GPIOC,  VINB6_Pin, GPIO_PIN_SET);
    		  Regulation_Mt6(speedMotor6, speedMotor1, vitesseRef2, VBATT);
    	      //TIM3->CCR2=40;

    	    }

    	    else
    	    {
    		  	TIM3->CCR2=0;

    	    }

	  ///////////////////////////////////////////////////MOTEUR2

		if  (pos1- CountM2>0 && MsgrecuST2[0]==5 )//>=0.4
		   {

			HAL_GPIO_WritePin(GPIOC,  VINB2_Pin, GPIO_PIN_RESET);
		    Regulation_Mt2(speedMotor2, speedMotor5,vitesseRef1, VBATT);

			 //TIM2->CCR2=40;

		   }else if (( pos1 - CountM2   )<0 && MsgrecuST2[0]==5 )//<=-0.5
				{
				   HAL_GPIO_WritePin(GPIOC,  VINB2_Pin, GPIO_PIN_SET);
				   Regulation_Mt2(speedMotor2, speedMotor5,vitesseRef1, VBATT);
				  // TIM2->CCR2=40;
			    }

		   else
			    {
			   TIM4->CCR2=0;

			    }

		///////////////////////////////////////////////////MOTEUR5

		if (pos1 - CountM5 > 0 && MsgrecuST2[0]==5) {
			   HAL_GPIO_WritePin(GPIOC,  VINB5_Pin, GPIO_PIN_RESET);
			  Regulation_Mt5(speedMotor5, speedMotor2, vitesseRef1, VBATT);

			   //TIM3->CCR1=40;
		    } else if ((pos1 - CountM5) < 0 && MsgrecuST2[0]==5) {

				  HAL_GPIO_WritePin(GPIOC,  VINB5_Pin, GPIO_PIN_SET);
				  Regulation_Mt5(speedMotor5, speedMotor2, vitesseRef1, VBATT);
				 // TIM3->CCR1=40;

		    }

		    else {
			  	TIM3->CCR1=0;

		    }

	///////////////////////////////////////////////////////////MOTEUR3

			if (pos3 - CountM3 > 0 && MsgrecuST2[0]==5)
			  {
				HAL_GPIO_WritePin(GPIOC,  VINB3_Pin, GPIO_PIN_RESET);
				Regulation_Mt3(  speedMotor3,   speedMotor4, vitesseRef3, VBATT);
				 //TIM2->CCR3=40;
			   } else if ((pos3 - CountM3 )< 0 && MsgrecuST2[0]==5 )
					   {
				  HAL_GPIO_WritePin(GPIOC,  VINB3_Pin, GPIO_PIN_SET);

				  Regulation_Mt3(  speedMotor3, speedMotor4, vitesseRef3, VBATT);

			   }

			   else {
				   TIM2->CCR3=0;

			   }
/////////////////////////////////////////////////////////////////////////////////MT4

		   if (pos3 - CountM4 > 0 && MsgrecuST2[0]==5)
		   {
			 HAL_GPIO_WritePin(GPIOC,  VINB4_Pin, GPIO_PIN_RESET);

			  Regulation_Mt4(speedMotor4, speedMotor3, vitesseRef3, VBATT);

			 //TIM2->CCR4=40;
		   }
		   else if ((pos3 - CountM4 )< 0 && MsgrecuST2[0]==5 )
		   {
			HAL_GPIO_WritePin(GPIOC,  VINB4_Pin, GPIO_PIN_SET);

			  Regulation_Mt4(speedMotor4, speedMotor3, vitesseRef3, VBATT);

			  // TIM2->CCR4=40;
		   }

		   else
		   {
			   TIM2->CCR4=0;

		   }

}
////////////////////////////////////////////////////////////////////////////
                  if  (( pos2  -CountM1  )==0 || MsgrecuST2[0]==4)
					   {
       			   TIM2->CCR1=0;

					   }
				 if  (( pos1  -CountM2  )==0 || MsgrecuST2[0]==4 )
					   {
					   TIM4->CCR2=0;

					   }

	 			 if  (( pos3  -CountM3  )==0 || MsgrecuST2[0]==4)
				     {
	 				   TIM2->CCR3=0;

				     }
				 if  (( pos3  -CountM4 )==0 || MsgrecuST2[0]==4)
				     {
					   TIM2->CCR4=0;

					 }
				 if  (( pos1  -CountM5  )==0 || MsgrecuST2[0]==4 )
				     {
					  	TIM3->CCR1=0;

					 }
				if  (( pos2 -CountM6  )==0 || MsgrecuST2[0]==4)
					 {
				  	TIM3->CCR2=0;

					 }

}
/* USER CODE END 0 */

int main(void)
{

  /* MCU Configuration--------------------------------------------------------*/

  /* Reset of all peripherals, Initializes the Flash interface and the Systick. */
  HAL_Init();

  /* Configure the system clock */
  SystemClock_Config();

  /* Initialize all configured peripherals */
  MX_GPIO_Init();
  MX_DMA_Init();
  MX_TIM8_Init();
  MX_TIM1_Init();
  MX_USART1_UART_Init();
  MX_ADC2_Init();
  MX_TIM2_Init();
  MX_TIM3_Init();
  MX_ADC1_Init();
  MX_ADC3_Init();
  MX_TIM4_Init();
  /* USER CODE BEGIN 2 */

	HAL_UART_Receive_IT(&huart1,MsgrecuST2, 1);//sizeof(buffer));
	//moteur1
	HAL_TIM_IC_Start_IT(&htim8, TIM_CHANNEL_1);//PC6 START INTERRUPTION
	//moteur2
	HAL_TIM_IC_Start_IT(&htim8, TIM_CHANNEL_2);//PC7

	//moteur3
	HAL_TIM_IC_Start_IT(&htim1, TIM_CHANNEL_1);//PE9
	//moteur4
	HAL_TIM_IC_Start_IT(&htim1, TIM_CHANNEL_2);//PE11
	//moteur5
	HAL_TIM_IC_Start_IT(&htim1, TIM_CHANNEL_3);//PE13
	//moteur6
	HAL_TIM_IC_Start_IT(&htim1, TIM_CHANNEL_4);//PE14
	HAL_TIM_PWM_Start(&htim3, TIM_CHANNEL_1);//MT5
	HAL_TIM_PWM_Start(&htim3, TIM_CHANNEL_2);//MT6
	HAL_TIM_PWM_Start(&htim2, TIM_CHANNEL_1);//MT1

	HAL_TIM_PWM_Start(&htim4, TIM_CHANNEL_2);//MT2

	HAL_TIM_PWM_Start(&htim2, TIM_CHANNEL_3);//MT3
	HAL_TIM_PWM_Start(&htim2, TIM_CHANNEL_4);//MT4

	//HAL_ADC_Start_DMA(&hadc1,(uint32_t *)buffer1, 3);// V1 V2 V3
	//HAL_ADC_Start_DMA(&hadc2,&BATT, 1);
	//HAL_ADC_Start_DMA(&hadc3,(uint32_t *)buffer2, 3);// V4 V5 V6
  /* USER CODE END 2 */

  /* Infinite loop */
  while (1)
  {

    /* USER CODE BEGIN 3 */
      //moveTo(-70, -550, -30);

/*while(mise_zero_alpha0==0){
	   	 if(zero==0){

	   moveTo(0, y, 0);
	   Start_mise_a_zero();
	   	 }//send 3 to st2
	   if(MsgrecuST2[0]==0x21){

		   Mise_a_zero_encour();//SEND 1/ ENCOUR
	   	zero=1;

	   }

	   while(MsgrecuST2[0]==0x21){
	   moveTo(0, y, 0);
	    y=y-0.5;
//	    x=x-0.5;

   	    zero=1;
	   }

	   if(MsgrecuST2[0]==0xF0)
	   {

	   senddataholdTo_st2();//0XF0
	   //mise_zero_alpha0=1;
	   if(HAL_GPIO_ReadPin(GPIOB, START_Pin)==1){

	       moveTo(0, 0, 0);

	   }

	   }
}*/

  }
  /* USER CODE END 3 */
}

void SystemClock_Config(void)
{
  RCC_OscInitTypeDef RCC_OscInitStruct = {0};
  RCC_ClkInitTypeDef RCC_ClkInitStruct = {0};

  /** Configure the main internal regulator output voltage
  */
  __HAL_RCC_PWR_CLK_ENABLE();
  __HAL_PWR_VOLTAGESCALING_CONFIG(PWR_REGULATOR_VOLTAGE_SCALE1);

  /** Initializes the RCC Oscillators according to the specified parameters
  * in the RCC_OscInitTypeDef structure.
  */
  RCC_OscInitStruct.OscillatorType = RCC_OSCILLATORTYPE_HSE;
  RCC_OscInitStruct.HSEState = RCC_HSE_ON;
  RCC_OscInitStruct.PLL.PLLState = RCC_PLL_ON;
  RCC_OscInitStruct.PLL.PLLSource = RCC_PLLSOURCE_HSE;
  RCC_OscInitStruct.PLL.PLLM = 4;
  RCC_OscInitStruct.PLL.PLLN = 200;
  RCC_OscInitStruct.PLL.PLLP = RCC_PLLP_DIV2;
  RCC_OscInitStruct.PLL.PLLQ = 3;
  if (HAL_RCC_OscConfig(&RCC_OscInitStruct) != HAL_OK)
  {
    Error_Handler();
  }

  /** Activate the Over-Drive mode
  */
  if (HAL_PWREx_EnableOverDrive() != HAL_OK)
  {
    Error_Handler();
  }

  /** Initializes the CPU, AHB and APB buses clocks
  */
  RCC_ClkInitStruct.ClockType = RCC_CLOCKTYPE_HCLK|RCC_CLOCKTYPE_SYSCLK
                              |RCC_CLOCKTYPE_PCLK1|RCC_CLOCKTYPE_PCLK2;
  RCC_ClkInitStruct.SYSCLKSource = RCC_SYSCLKSOURCE_PLLCLK;
  RCC_ClkInitStruct.AHBCLKDivider = RCC_SYSCLK_DIV1;
  RCC_ClkInitStruct.APB1CLKDivider = RCC_HCLK_DIV4;
  RCC_ClkInitStruct.APB2CLKDivider = RCC_HCLK_DIV4;

  if (HAL_RCC_ClockConfig(&RCC_ClkInitStruct, FLASH_LATENCY_6) != HAL_OK)
  {
    Error_Handler();
  }
}

void Error_Handler(void)
{
  __disable_irq();
  while (1)
  {
  }
}
